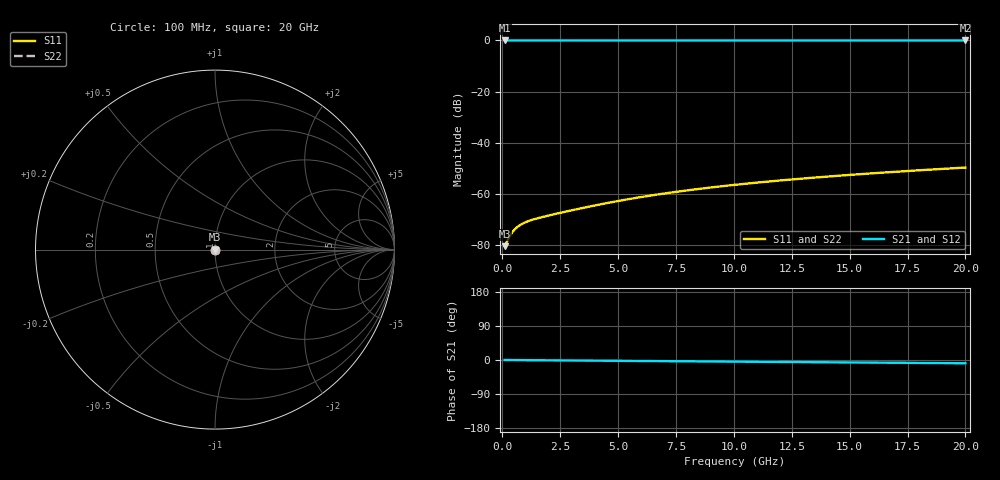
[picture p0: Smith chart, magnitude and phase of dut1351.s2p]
! Touchstone file exported from HFSS 2026.1.0
!  File:  C:/ffzhzh/LocalFiles/Ansys_Project_Files/temp_train_TSV_1351_1783195815_55132.aedt
!  Generated:  04:11:42 AM Jul  5, 2026
!  Design:  TSV
!  Project:  temp_train_TSV_1351_1783195815_55132
! Variables:
!  h_bsmrdl = 2um
!  h_ox = 20um
!  h_rdl = 5um
!  h_sub = 85.69um
!  h_tmrdl = 5um
!  h_tsv = 85.69um
!  h_via = 3um
!  l_bsmrdl = 300um
!  l_sub = 425.92um
!  l_tmrdl = 200um
!  m_sub = 200um
!  pitch = 50.79um
!  r_tsv = 12.96um
!  s_tmrdl = 10um
!  w_bsmrdl = 18um
!  w_sub = 500um
!  w_tmrdl = 12um
!  x_tsv_center1 = 206um
!  x_tsv_center2 = 524um
!  x_tsv_center3 = 736um
!  x_tsv_center4 = 1054um
!  x_tsv_center5 = 1266um
!  x_tsv_center6 = 1584um
# GHz S MA R 50.000000
! Terminal data exported
! Port[1] = TSV1_1_T1
! Port[2] = TSV1_1_T2
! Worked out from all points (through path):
!   200 points, 100 MHz to 20 GHz, reference 50 ohm
!   highest |S21| = 0.00 dB at 100 MHz (marker M1); lowest = 0.0 dB at 20 GHz (marker M2)
!   group delay of S21, straight-line fit = 1.19 ps
!   lowest |S11| = -80.4 dB at 100 MHz (marker M3), VSWR 1.00, Z = 50 + j0.00284 ohm
!   |S11| at or under -10 dB: start of sweep to end of sweep
!   |S22| runs from -80.4 to -49.7 dB; largest |S21 - S12| = 7.6e-15
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0.1  9.558e-05 17.3  0.9999 -0.0  0.9999 -0.0  9.558e-05 17.3
! Gamma 0 0 0 0
! Port Impedance 50 0 50 0
0.2  0.0001176 26.9  0.9999 -0.1  0.9999 -0.1  0.0001176 26.9
0.3  0.0001442 30.1  0.9999 -0.1  0.9999 -0.1  0.0001442 30.1
0.4  0.0001707 29.6  0.9999 -0.2  0.9999 -0.2  0.0001707 29.6
0.5  0.000195 27.4  0.9998 -0.2  0.9998 -0.2  0.000195 27.4
0.6  0.0002166 24.5  0.9998 -0.3  0.9998 -0.3  0.0002166 24.5
0.7  0.0002356 21.3  0.9998 -0.3  0.9998 -0.3  0.0002356 21.3
0.9  0.0002669 14.8  0.9997 -0.4  0.9997 -0.4  0.0002669 14.8
1.2  0.0003031 6.2  0.9997 -0.5  0.9997 -0.5  0.0003031 6.2
1.6  0.0003425 -3.2  0.9997 -0.7  0.9997 -0.7  0.0003425 -3.2
2.4  0.0004179 -17.1  0.9996 -1.0  0.9996 -1.0  0.0004179 -17.1
3.5  0.0005366 -29.9  0.9995 -1.5  0.9995 -1.5  0.0005366 -29.9
4.3  0.0006356 -36.7  0.9995 -1.9  0.9995 -1.9  0.0006356 -36.7
5.1  0.0007432 -42.2  0.9994 -2.2  0.9994 -2.2  0.0007432 -42.2
5.9  0.0008576 -46.7  0.9994 -2.5  0.9994 -2.5  0.0008576 -46.7
6.8  0.0009922 -51.0  0.9993 -2.9  0.9993 -2.9  0.0009922 -51.0
8.4  0.001243 -57.2  0.9993 -3.6  0.9993 -3.6  0.001243 -57.2
10.1  0.001519 -62.3  0.9992 -4.4  0.9992 -4.4  0.001519 -62.3
11.7  0.001787 -66.1  0.9991 -5.0  0.9991 -5.0  0.001787 -66.1
13.4  0.002078 -69.4  0.9991 -5.8  0.9991 -5.8  0.002078 -69.4
16.7  0.002665 -74.5  0.999 -7.2  0.999 -7.2  0.002665 -74.5
20  0.003285 -78.3  0.9989 -8.6  0.9989 -8.6  0.003285 -78.3
